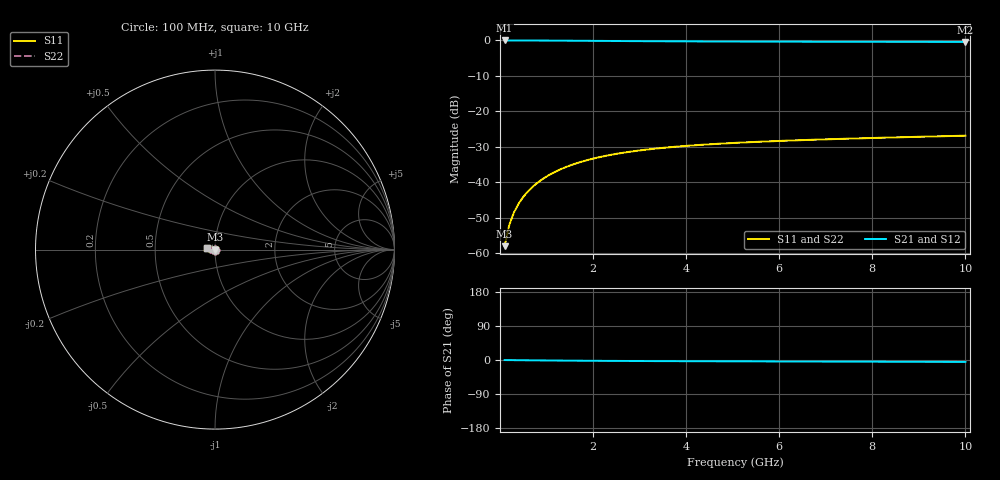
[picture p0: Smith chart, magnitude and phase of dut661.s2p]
! Touchstone file exported from HFSS 2024.1.0
!  File:  C:/UserFiles/LocalFiles/RDL_TSV_Batchsim/temp_TSV1_661_1779793127.aedt
!  Generated:  07:05:38 PM May 26, 2026
!  Design:  TSV1
!  Project:  temp_TSV1_661_1779793127
!  Setup:  Setup1
!  Solution:  Sweep
! Variables:
!  dtsv = 11.14um
!  hbump = 3um
!  htsv = 77.45um
!  lrdl = 252.1521522um
!  p = 40
!  p1 = 59.64um
!  t = 500um
!  trdl = 3um
!  wrdl = 24.89489489um
# GHz S MA R 50.000000
! Terminal data exported
! Port[1] = TSV22_T1
! Port[2] = TSV22_T2
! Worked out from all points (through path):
!   100 points, 100 MHz to 10 GHz, reference 50 ohm
!   highest |S21| = 0.00 dB at 100 MHz (marker M1); lowest = -0.4 dB at 10 GHz (marker M2)
!   lowest |S11| = -58.1 dB at 100 MHz (marker M3), VSWR 1.00, Z = 50 - j0.124 ohm
!   |S11| at or under -10 dB: start of sweep to end of sweep
!   |S22| runs from -58.1 to -26.9 dB; largest |S21 - S12| = 6.1e-15
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0.1  0.001246 -86.9  0.9998 -0.1  0.9998 -0.1  0.001246 -86.9
! Gamma 0 0 0 0
! Port Impedance 50 0 50 0
0.2  0.002484 -91.4  0.9997 -0.3  0.9997 -0.3  0.002484 -91.4
0.3  0.003721 -94.3  0.9994 -0.4  0.9994 -0.4  0.003721 -94.3
0.4  0.004951 -96.8  0.9991 -0.5  0.9991 -0.5  0.004951 -96.8
0.5  0.006171 -99.1  0.9987 -0.6  0.9987 -0.6  0.006171 -99.1
0.6  0.007375 -101.3  0.9982 -0.8  0.9982 -0.8  0.007375 -101.3
0.7  0.00856 -103.5  0.9977 -0.9  0.9977 -0.9  0.00856 -103.5
0.8  0.009724 -105.6  0.997 -1.0  0.997 -1.0  0.009724 -105.6
0.9  0.01086 -107.7  0.9964 -1.1  0.9964 -1.1  0.01086 -107.7
1.1  0.01306 -111.7  0.9948 -1.3  0.9948 -1.3  0.01306 -111.7
1.4  0.01614 -117.4  0.9923 -1.6  0.9923 -1.6  0.01614 -117.4
1.6  0.01804 -121.0  0.9904 -1.8  0.9904 -1.8  0.01804 -121.0
1.8  0.0198 -124.5  0.9885 -2.0  0.9885 -2.0  0.0198 -124.5
2.1  0.02222 -129.4  0.9856 -2.2  0.9856 -2.2  0.02222 -129.4
2.5  0.02504 -135.4  0.9819 -2.4  0.9819 -2.4  0.02504 -135.4
2.9  0.02744 -140.8  0.9785 -2.7  0.9785 -2.7  0.02745 -140.8
3.4  0.02997 -146.9  0.9746 -2.9  0.9746 -2.9  0.02997 -146.9
4.2  0.03317 -155.4  0.9694 -3.2  0.9694 -3.2  0.03317 -155.4
5.1  0.03592 -163.5  0.965 -3.5  0.965 -3.5  0.03592 -163.5
6.7  0.03957 -175.1  0.9595 -4.0  0.9595 -4.0  0.03957 -175.1
8.4  0.04264 175.0  0.9558 -4.6  0.9558 -4.6  0.04264 175.0
10  0.04521 167.2  0.9534 -5.1  0.9534 -5.1  0.04521 167.2
